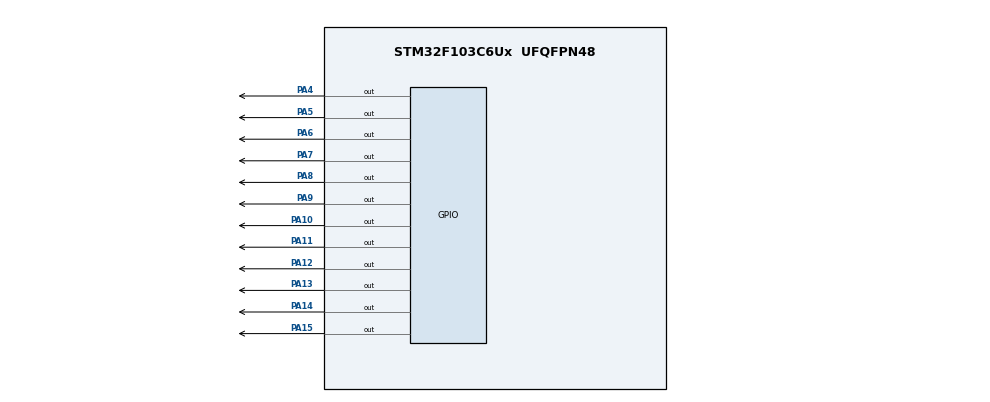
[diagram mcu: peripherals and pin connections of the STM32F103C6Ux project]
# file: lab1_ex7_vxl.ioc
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Mcu.Family=STM32F1
Mcu.Name=STM32F103C6Ux
Mcu.Package=UFQFPN48
NVIC.PriorityGroup=NVIC_PRIORITYGROUP_4
PA10.Signal=GPIO_Output
PA11.Signal=GPIO_Output
PA12.Signal=GPIO_Output
PA13.Signal=GPIO_Output
PA14.Signal=GPIO_Output
PA15.Signal=GPIO_Output
PA4.Signal=GPIO_Output
PA5.Signal=GPIO_Output
PA6.Signal=GPIO_Output
PA7.Signal=GPIO_Output
PA8.Signal=GPIO_Output
PA9.Signal=GPIO_Output
ProjectManager.HeapSize=0x200
ProjectManager.StackSize=0x400
ProjectManager.TargetToolchain=STM32CubeIDE
RCC.APB1Freq_Value=8000000
RCC.APB2Freq_Value=8000000
VP_SYS_VS_ND.Mode=No_Debug
board=custom

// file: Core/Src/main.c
/* USER CODE BEGIN Header */
/**
  ******************************************************************************
  * @file           : main.c
  * @brief          : Exercise 7 - clearAllClock()
  ******************************************************************************
  */
/* USER CODE END Header */

#include "main.h"

void SystemClock_Config(void);
static void MX_GPIO_Init(void);

/* USER CODE BEGIN PFP */

void clearAllClock(void);

/* USER CODE END PFP */

/* USER CODE BEGIN 0 */

/*
 * clearAllClock()
 *
 * Turn OFF all 12 LEDs of the analog clock.
 *
 * PA4  -> LED 0
 * PA5  -> LED 1
 * PA6  -> LED 2
 * PA7  -> LED 3
 * PA8  -> LED 4
 * PA9  -> LED 5
 * PA10 -> LED 6
 * PA11 -> LED 7
 * PA12 -> LED 8
 * PA13 -> LED 9
 * PA14 -> LED 10
 * PA15 -> LED 11
 *
 * Active-low connection:
 * GPIO_PIN_RESET = LED ON
 * GPIO_PIN_SET   = LED OFF
 */
void clearAllClock(void)
{
    HAL_GPIO_WritePin(GPIOA,
                      GPIO_PIN_4  |
                      GPIO_PIN_5  |
                      GPIO_PIN_6  |
                      GPIO_PIN_7  |
                      GPIO_PIN_8  |
                      GPIO_PIN_9  |
                      GPIO_PIN_10 |
                      GPIO_PIN_11 |
                      GPIO_PIN_12 |
                      GPIO_PIN_13 |
                      GPIO_PIN_14 |
                      GPIO_PIN_15,
                      GPIO_PIN_SET);
}

/* USER CODE END 0 */

int main(void)
{

    /* MCU Configuration--------------------------------------------------------*/

    /* Reset of all peripherals, Initializes the Flash interface and Systick. */
    HAL_Init();

    /* Configure the system clock */
    SystemClock_Config();

    /* Initialize all configured peripherals */
    MX_GPIO_Init();

    /* USER CODE BEGIN 2 */

    /*
     * Exercise 7:
     * Turn OFF all 12 LEDs.
     */
    clearAllClock();

    /* USER CODE END 2 */

    /* Infinite loop */
    /* USER CODE BEGIN WHILE */

    while (1)
    {
        /*
         * Nothing else is required for Exercise 7.
         * All LEDs remain OFF.
         */

        /* USER CODE END WHILE */

    }
}

void SystemClock_Config(void)
{
    RCC_OscInitTypeDef RCC_OscInitStruct = {0};
    RCC_ClkInitTypeDef RCC_ClkInitStruct = {0};

    /**
      * Initializes the RCC Oscillators according
      * to the specified parameters.
      */
    RCC_OscInitStruct.OscillatorType =
            RCC_OSCILLATORTYPE_HSI;

    RCC_OscInitStruct.HSIState =
            RCC_HSI_ON;

    RCC_OscInitStruct.HSICalibrationValue =
            RCC_HSICALIBRATION_DEFAULT;

    RCC_OscInitStruct.PLL.PLLState =
            RCC_PLL_NONE;

    if (HAL_RCC_OscConfig(&RCC_OscInitStruct) != HAL_OK)
    {
        Error_Handler();
    }

    /**
      * Initializes CPU, AHB and APB buses clocks.
      */
    RCC_ClkInitStruct.ClockType =
            RCC_CLOCKTYPE_HCLK |
            RCC_CLOCKTYPE_SYSCLK |
            RCC_CLOCKTYPE_PCLK1 |
            RCC_CLOCKTYPE_PCLK2;

    RCC_ClkInitStruct.SYSCLKSource =
            RCC_SYSCLKSOURCE_HSI;

    RCC_ClkInitStruct.AHBCLKDivider =
            RCC_SYSCLK_DIV1;

    RCC_ClkInitStruct.APB1CLKDivider =
            RCC_HCLK_DIV1;

    RCC_ClkInitStruct.APB2CLKDivider =
            RCC_HCLK_DIV1;

    if (HAL_RCC_ClockConfig(&RCC_ClkInitStruct,
                            FLASH_LATENCY_0) != HAL_OK)
    {
        Error_Handler();
    }
}

static void MX_GPIO_Init(void)
{
    GPIO_InitTypeDef GPIO_InitStruct = {0};

    /* GPIO Ports Clock Enable */
    __HAL_RCC_GPIOA_CLK_ENABLE();

    /*
     * Initial state:
     * Turn OFF all 12 LEDs.
     *
     * Active-low:
     * SET = OFF
     */
    HAL_GPIO_WritePin(GPIOA,
                      GPIO_PIN_4  |
                      GPIO_PIN_5  |
                      GPIO_PIN_6  |
                      GPIO_PIN_7  |
                      GPIO_PIN_8  |
                      GPIO_PIN_9  |
                      GPIO_PIN_10 |
                      GPIO_PIN_11 |
                      GPIO_PIN_12 |
                      GPIO_PIN_13 |
                      GPIO_PIN_14 |
                      GPIO_PIN_15,
                      GPIO_PIN_SET);

    /*
     * Configure PA4 -> PA15 as GPIO outputs.
     */
    GPIO_InitStruct.Pin =
                      GPIO_PIN_4  |
                      GPIO_PIN_5  |
                      GPIO_PIN_6  |
                      GPIO_PIN_7  |
                      GPIO_PIN_8  |
                      GPIO_PIN_9  |
                      GPIO_PIN_10 |
                      GPIO_PIN_11 |
                      GPIO_PIN_12 |
                      GPIO_PIN_13 |
                      GPIO_PIN_14 |
                      GPIO_PIN_15;

    GPIO_InitStruct.Mode =
            GPIO_MODE_OUTPUT_PP;

    GPIO_InitStruct.Pull =
            GPIO_NOPULL;

    GPIO_InitStruct.Speed =
            GPIO_SPEED_FREQ_LOW;

    HAL_GPIO_Init(GPIOA,
                  &GPIO_InitStruct);
}

void Error_Handler(void)
{
    __disable_irq();
    while (1)
    {
    }
}

#ifdef USE_FULL_ASSERT

/**
  * @brief Reports the name of the source file
  *        and source line number where
  *        assert_param error occurred.
  */
void assert_failed(uint8_t *file, uint32_t line)
{
    /* USER CODE BEGIN 6 */

    /* User can add implementation here */

    /* USER CODE END 6 */
}

#endif /* USE_FULL_ASSERT */
